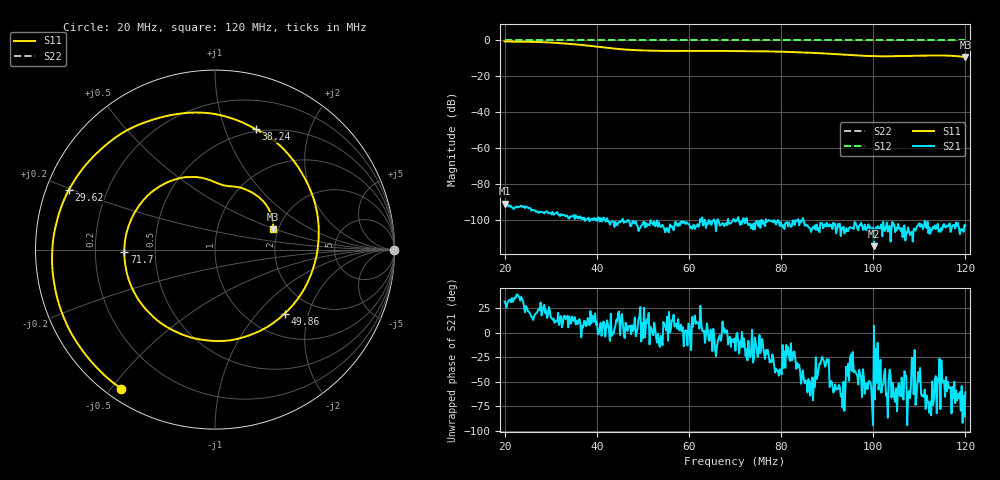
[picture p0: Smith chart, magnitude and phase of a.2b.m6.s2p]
! Anritsu VNA Master:  Model: MS2036C/10/77
! SN:  1601066
! /bd0/18may09/252.ns.m6.s2p
! Existing Calibration Information:
! TYPE:  Current Settings,  Active Cal Settings
! TIME:  05/09/2018 09:05:32 AM,  05/09/2018 09:02:47 AM
! INTERNAL TEMP:  40.8 C,  40.3 C
! # POINTS:  500,  500
! START FREQ:  20.000 MHz,  20.000 MHz
! STOP FREQ:  120.000 MHz,  120.000 MHz
! SOURCE POWER:  High,  High
! IFBW:  50 Hz,  50 Hz
! AVG FACTOR:  1 ,  1
! REF PLANE 1:  0 mm,  0 mm
! REF PLANE 2:  0 mm,  0 mm
! CAL TYPE:  Full S11,  Full S11
! CAL METHOD:  SOLT,  SOLT
! CAL LINE TYPE:  Coax,  Coax
! DUT PORT 1:  K-Conn(F),  K-Conn(F)
! DUT PORT 2:  K-Conn(F),  K-Conn(F)
! CAL STATUS:  OK: Accuracy High,  --
# GHZ S DB R 50.0
! FREQ.GHZ  S11DB  S11A  S21DB  S21A  S12DB  S12A  S22DB  S22A
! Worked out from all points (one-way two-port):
!   500 points, 20 MHz to 120 MHz, reference 50 ohm
!   highest |S21| = -91.13 dB at 20 MHz (marker M1); lowest = -114.9 dB at 100.2 MHz (marker M2)
!   lowest |S11| = -9.3 dB at 120 MHz (marker M3), VSWR 2.05, Z = 94.1 + j23.9 ohm
!   |S11| at or under -10 dB: nowhere
!   |S22| runs from 0.0 to 0.0 dB; largest |S21 - S12| = 1
!   S11 on the Smith chart (normalised r, x): 20 MHz: 0.04, -0.53; 29.62 MHz: 0.07, +0.20; 38.24 MHz: 0.48, +1.28; 49.86 MHz: 1.44, -1.42; 71.7 MHz: 0.33, -0.01; 120 MHz: 1.88, +0.48
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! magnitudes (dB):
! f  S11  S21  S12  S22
! 20 MHz  -0.6  -91.1  0.0  0.0
! 25.01 MHz  -0.7  -93.2  0.0  0.0
! 29.62 MHz  -1.1  -96.3  0.0  0.0
! 32.83 MHz  -1.6  -97.3  0.0  0.0
! 36.83 MHz  -2.5  -99.0  0.0  0.0
! 38.24 MHz  -3.0  -98.9  0.0  0.0
! 44.85 MHz  -4.8  -101.2  0.0  0.0
! 46.85 MHz  -5.2  -100.4  0.0  0.0
! 49.86 MHz  -5.6  -103.0  0.0  0.0
! 53.47 MHz  -5.8  -101.5  0.0  0.0
! 57.07 MHz  -5.9  -101.2  0.0  0.0
! 70.1 MHz  -5.9  -101.2  0.0  0.0
! 71.7 MHz  -5.9  -99.8  0.0  0.0
! 80.32 MHz  -6.3  -104.2  0.0  0.0
! 86.73 MHz  -6.9  -105.0  0.0  0.0
! 97.35 MHz  -8.5  -101.8  0.0  0.0
! 100.2 MHz  -8.8  -114.9  0.0  0.0
! 103.4 MHz  -8.9  -104.6  0.0  0.0
! 109.2 MHz  -8.5  -106.2  0.0  0.0
! 114.8 MHz  -8.4  -104.5  0.0  0.0
! 117.6 MHz  -8.6  -103.1  0.0  0.0
! 120 MHz  -9.3  -103.4  0.0  0.0
